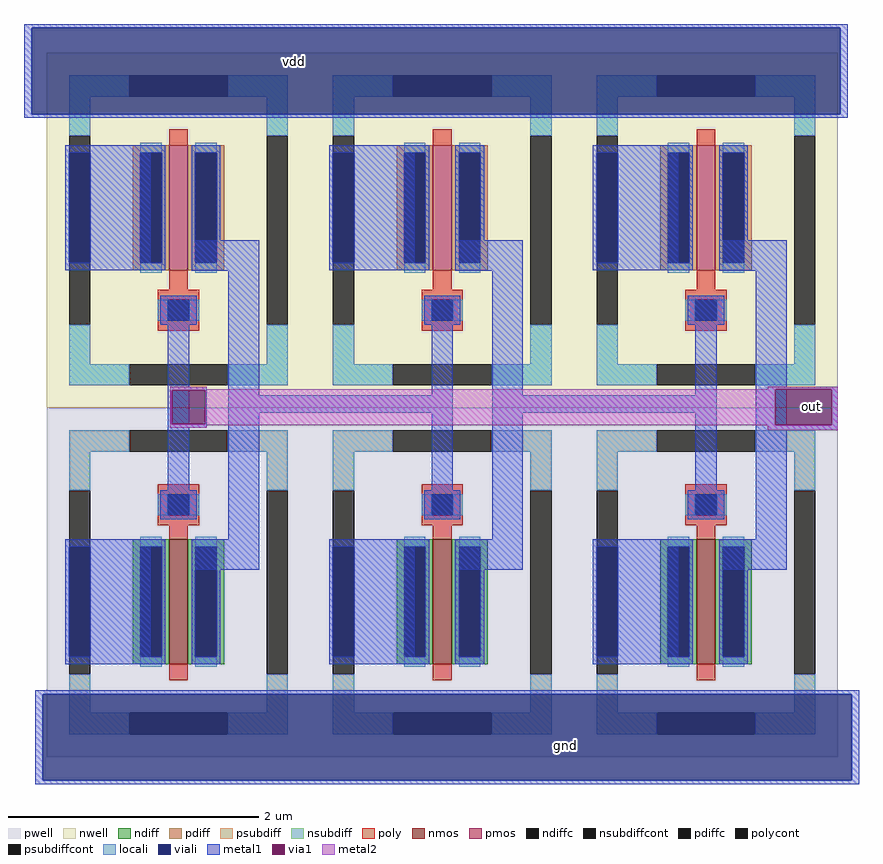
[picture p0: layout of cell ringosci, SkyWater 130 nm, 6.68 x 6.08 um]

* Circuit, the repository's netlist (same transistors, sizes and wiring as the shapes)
** sch_path: /home/nsptrq/newproject/ringosci/ringosci.sch
**.subckt ringosci vdd out gnd
*.iopin out
*.iopin vdd
*.iopin gnd
x1 vdd out net1 gnd inverter
x2 vdd net1 net2 gnd inverter
x3 vdd net2 out gnd inverter
**.ends

* expanding   symbol:  /home/nsptrq/newproject/inverter/inverter.sym # of pins=4
** sym_path: /home/nsptrq/newproject/inverter/inverter.sym
** sch_path: /home/nsptrq/newproject/inverter/inverter.sch
.subckt inverter vdd in out gnd
*.ipin vdd
*.ipin in
*.ipin gnd
*.opin out
XM1 out in gnd gnd sky130_fd_pr__nfet_01v8 L=0.15 W=1 nf=1 ad='int((nf+1)/2) * W/nf * 0.29' as='int((nf+2)/2) * W/nf * 0.29' pd='2*int((nf+1)/2) * (W/nf + 0.29)'
+ ps='2*int((nf+2)/2) * (W/nf + 0.29)' nrd='0.29 / W' nrs='0.29 / W' sa=0 sb=0 sd=0 mult=1 m=1
XM2 out in vdd vdd sky130_fd_pr__pfet_01v8 L=0.15 W=1 nf=1 ad='int((nf+1)/2) * W/nf * 0.29' as='int((nf+2)/2) * W/nf * 0.29' pd='2*int((nf+1)/2) * (W/nf + 0.29)'
+ ps='2*int((nf+2)/2) * (W/nf + 0.29)' nrd='0.29 / W' nrs='0.29 / W' sa=0 sb=0 sd=0 mult=1 m=1
.ends

.end

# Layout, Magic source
magic
tech sky130A
magscale 1 2
<< viali >>
rect -24 1028 1270 1166
rect -6 -38 1288 100
<< metal1 >>
rect -36 1166 1282 1172
rect -36 1028 -24 1166
rect 1270 1028 1282 1166
rect -36 1022 1282 1028
rect 198 586 256 592
rect 198 532 200 586
rect 254 532 256 586
rect 1154 588 1266 592
rect 292 550 642 578
rect 718 550 1068 578
rect 198 526 256 532
rect 1154 530 1166 588
rect 1256 530 1266 588
rect 1154 522 1266 530
rect -18 100 1300 106
rect -18 -38 -6 100
rect 1288 -38 1300 100
rect -18 -44 1300 -38
<< via1 >>
rect 200 532 254 586
rect 1166 530 1256 588
<< metal2 >>
rect 198 588 256 592
rect 1154 588 1266 592
rect 198 586 1166 588
rect 198 532 200 586
rect 254 532 1166 586
rect 198 530 1166 532
rect 1256 530 1266 588
rect 198 526 256 530
rect 1154 522 1266 530
use inverter  x1
transform 1 0 53 0 1 -9
box -53 9 369 1135
use inverter  x2
transform 1 0 475 0 1 -9
box -53 9 369 1135
use inverter  x3
transform 1 0 897 0 1 -9
box -53 9 369 1135
<< labels >>
flabel viali 396 1112 396 1112 0 FreeSans 320 0 0 0 vdd
port 0 nsew
flabel via1 1224 560 1224 560 0 FreeSans 320 0 0 0 out
port 1 nsew
flabel viali 830 18 830 18 0 FreeSans 320 0 0 0 gnd
port 3 nsew
<< end >>

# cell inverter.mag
magic
tech sky130A
magscale 1 2
<< viali >>
rect -17 799 17 975
rect -17 169 17 345
<< metal1 >>
rect -23 975 114 987
rect -23 799 -17 975
rect 17 799 114 975
rect -23 787 114 799
rect 179 786 287 835
rect 141 395 175 740
rect 238 357 287 786
rect -23 345 114 357
rect -23 169 -17 345
rect 17 169 114 345
rect 180 308 287 357
rect -23 157 114 169
use sky130_fd_pr__nfet_01v8_64Z3AY  XM1
transform 1 0 158 0 1 288
box -211 -279 211 279
use sky130_fd_pr__pfet_01v8_LGS3BL  XM2
transform 1 0 158 0 1 851
box -211 -284 211 284
<< labels >>
flabel metal1 57 877 57 877 0 FreeSans 160 0 0 0 vdd
port 0 nsew
flabel metal1 49 265 49 265 0 FreeSans 160 0 0 0 gnd
port 1 nsew
flabel metal1 266 546 266 546 0 FreeSans 160 0 0 0 out
port 2 nsew
flabel metal1 164 555 164 555 0 FreeSans 160 0 0 0 in
port 3 nsew
<< end >>

# cell sky130_fd_pr__nfet_01v8_64Z3AY: kit device sky130_fd_pr__nfet_01v8, w 1.0 l 0.15 m 1 nf 1 diffcov 100 polycov 100 guard 1 glc 1 grc 1 gtc 1 gbc 1 tbcov 100 rlcov 100 topc 1 botc 0 poverlap 0 doverlap 1 lmin 0.15 wmin 0.42 compatible {sky130_fd_pr__nfet_01v8 sky130_fd_pr__nfet_01v8_lvt sky130_fd_bs_flash__special_sonosfet_star sky130_fd_pr__nfet_g5v0d10v5 sky130_fd_pr__nfet_05v0_nvt sky130_fd_pr__nfet_03v3_nvt} full_metal 1 viasrc 100 viadrn 100 viagate 100 viagb 0 viagr 0 viagl 0 viagt 0

# cell sky130_fd_pr__pfet_01v8_LGS3BL: kit device sky130_fd_pr__pfet_01v8, w 1.0 l 0.15 m 1 nf 1 diffcov 100 polycov 100 guard 1 glc 1 grc 1 gtc 1 gbc 1 tbcov 100 rlcov 100 topc 0 botc 1 poverlap 0 doverlap 1 lmin 0.15 wmin 0.42 compatible {sky130_fd_pr__pfet_01v8 sky130_fd_pr__pfet_01v8_lvt sky130_fd_pr__pfet_01v8_hvt sky130_fd_pr__pfet_g5v0d10v5} full_metal 1 viasrc 100 viadrn 100 viagate 100 viagb 0 viagr 0 viagl 0 viagt 0
